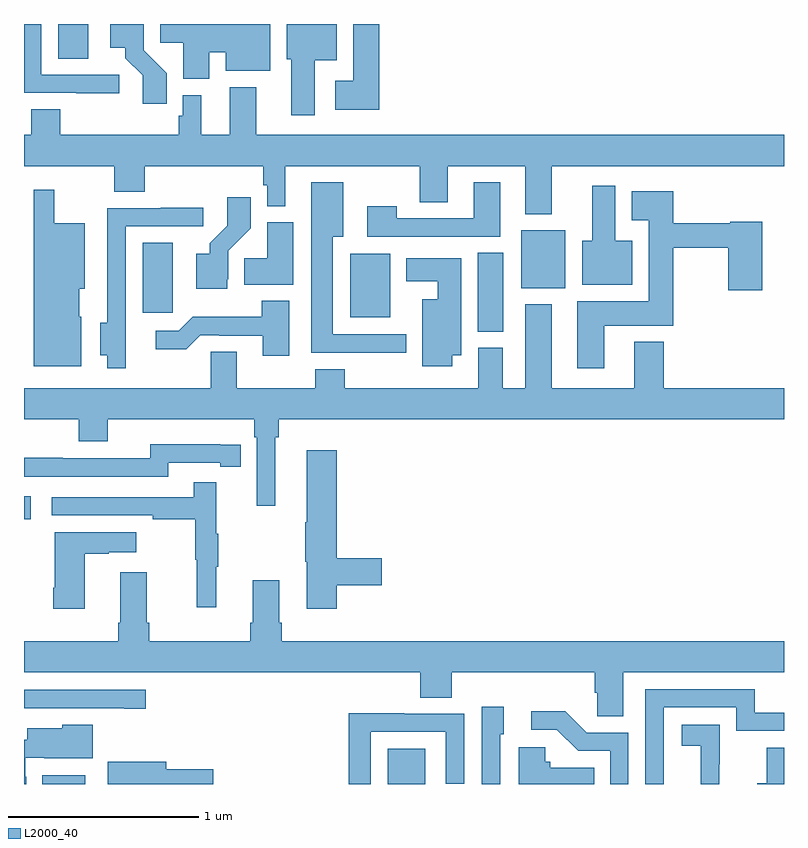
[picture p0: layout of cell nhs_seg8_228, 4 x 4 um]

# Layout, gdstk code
import gdstk
lib = gdstk.Library(unit=1e-6, precision=1e-09)
def R(c, l, rs):  # rectangles x0, y0, x1, y1
    for r in rs: c.add(gdstk.rectangle(r[:2], r[2:], *l))
def P(c, l, *ps):  # polygons
    for p in ps: c.add(gdstk.Polygon(p, *l))
L2000_40 = (2000, 40)

nhs_seg8_228 = lib.new_cell('nhs_seg8_228')
R(nhs_seg8_228, L2000_40, [(125.096,1127.9,125.323,1127.947), (126.914,1127.9,127.111,1128.085), (125,1129.293,125.035,1129.414), (127.388,1130.281,127.522,1130.696), (126.716,1130.357,126.928,1130.692), (125.624,1130.379,125.782,1130.75), (127.616,1130.51,127.849,1130.815), (125.18,1131.718,125.338,1131.9)])
P(nhs_seg8_228, L2000_40, [(125.974,1131.751),(126.062,1131.751),(126.062,1131.653),(126.295,1131.653),(126.295,1131.9),(125.716,1131.9),(125.716,1131.802),(125.837,1131.802),(125.837,1131.611),(125.974,1131.611)],
  [(125.75,1131.642),(125.631,1131.761),(125.631,1131.9),(125.454,1131.9),(125.454,1131.776),(125.534,1131.776),(125.534,1131.721),(125.625,1131.631),(125.625,1131.48),(125.75,1131.48)],
  [(125.5,1131.633),(125.091,1131.633),(125.091,1131.9),(125,1131.9),(125,1131.537),(125.275,1131.537),(125.275,1131.535),(125.5,1131.535)],
  [(126.869,1131.9),(126.734,1131.9),(126.734,1131.601),(126.639,1131.601),(126.639,1131.449),(126.869,1131.449)],
  [(126.529,1131.71),(126.646,1131.71),(126.646,1131.9),(126.383,1131.9),(126.383,1131.714),(126.407,1131.714),(126.407,1131.42),(126.529,1131.42)],
  [(127.777,1131.152),(129,1131.152),(129,1131.316),(126.223,1131.316),(126.223,1131.568),(126.083,1131.568),(126.083,1131.316),(125.932,1131.316),(125.932,1131.526),(125.835,1131.526),(125.835,1131.417),(125.815,1131.417),(125.815,1131.316),(125.192,1131.316),(125.192,1131.452),(125.039,1131.452),(125.039,1131.316),(125,1131.316),(125,1131.152),(125.476,1131.152),(125.476,1131.016),(125.636,1131.016),(125.636,1131.152),(126.259,1131.152),(126.259,1131.051),(126.279,1131.051),(126.279,1130.942),(126.376,1130.942),(126.376,1131.152),(127.084,1131.152),(127.084,1130.962),(127.231,1130.962),(127.231,1131.152),(127.637,1131.152),(127.637,1130.9),(127.777,1130.9)],
  [(127.507,1131.067),(127.367,1131.067),(127.367,1130.877),(126.963,1130.877),(126.963,1130.941),(126.807,1130.941),(126.807,1130.781),(127.507,1130.781)],
  [(127.012,1130.268),(126.625,1130.268),(126.625,1130.78),(126.679,1130.78),(126.679,1131.067),(126.512,1131.067),(126.512,1130.171),(127.012,1130.171)],
  [(128.2,1130.758),(128.113,1130.758),(128.113,1131.049),(127.991,1131.049),(127.991,1130.758),(127.937,1130.758),(127.937,1130.528),(128.2,1130.528)],
  [(125.302,1130.358),(125.29,1130.358),(125.29,1130.507),(125.32,1130.507),(125.32,1130.851),(125.158,1130.851),(125.158,1131.028),(125.051,1131.028),(125.051,1130.099),(125.302,1130.099)],
  [(128.053,1130.312),(128.418,1130.312),(128.418,1130.722),(128.707,1130.722),(128.707,1130.499),(128.885,1130.499),(128.885,1130.859),(128.718,1130.859),(128.718,1130.851),(128.418,1130.851),(128.418,1131.019),(128.198,1131.019),(128.198,1130.867),(128.288,1130.867),(128.288,1130.44),(127.913,1130.44),(127.913,1130.088),(128.053,1130.088)],
  [(126.07,1130.556),(126.075,1130.556),(126.075,1130.707),(126.194,1130.826),(126.194,1130.989),(126.069,1130.989),(126.069,1130.837),(125.978,1130.747),(125.978,1130.692),(125.906,1130.692),(125.906,1130.507),(126.07,1130.507)],
  [(125.536,1130.31),(125.535,1130.31),(125.535,1130.835),(125.944,1130.835),(125.944,1130.934),(125.719,1130.934),(125.719,1130.931),(125.439,1130.931),(125.439,1130.327),(125.402,1130.327),(125.402,1130.156),(125.438,1130.156),(125.438,1130.088),(125.536,1130.088)],
  [(126.418,1130.857),(126.281,1130.857),(126.281,1130.666),(126.16,1130.666),(126.16,1130.528),(126.418,1130.528)],
  [(127.255,1130.156),(127.3,1130.156),(127.3,1130.668),(127.013,1130.668),(127.013,1130.546),(127.178,1130.546),(127.178,1130.452),(127.097,1130.452),(127.097,1130.1),(127.255,1130.1)],
  [(126.397,1130.443),(126.25,1130.443),(126.25,1130.359),(125.887,1130.359),(125.814,1130.286),(125.694,1130.286),(125.694,1130.189),(125.855,1130.189),(125.928,1130.262),(126.028,1130.262),(126.028,1130.259),(126.257,1130.259),(126.257,1130.154),(126.397,1130.154)],
  [(126.322,1129.724),(126.341,1129.724),(126.341,1129.82),(129,1129.82),(129,1129.984),(128.366,1129.984),(128.366,1130.227),(128.213,1130.227),(128.213,1129.984),(127.777,1129.984),(127.777,1130.425),(127.637,1130.425),(127.637,1129.984),(127.519,1129.984),(127.519,1130.196),(127.391,1130.196),(127.391,1129.984),(126.687,1129.984),(126.687,1130.083),(126.532,1130.083),(126.532,1129.984),(126.121,1129.984),(126.121,1130.174),(125.982,1130.174),(125.982,1129.984),(125,1129.984),(125,1129.82),(125.288,1129.82),(125.288,1129.703),(125.44,1129.703),(125.44,1129.82),(126.212,1129.82),(126.212,1129.724),(126.225,1129.724),(126.225,1129.365),(126.322,1129.365)],
  [(125.76,1129.59),(126.032,1129.59),(126.032,1129.57),(126.14,1129.57),(126.14,1129.686),(126.032,1129.686),(126.032,1129.687),(125.664,1129.687),(125.664,1129.614),(125.204,1129.614),(125.204,1129.616),(125,1129.616),(125,1129.518),(125.76,1129.518)],
  [(126.647,1128.946),(126.883,1128.946),(126.883,1129.088),(126.647,1129.088),(126.647,1129.657),(126.488,1129.657),(126.488,1129.277),(126.481,1129.277),(126.481,1129.071),(126.488,1129.071),(126.488,1128.822),(126.647,1128.822)],
  [(126.011,1129.043),(126.022,1129.043),(126.022,1129.217),(126.011,1129.217),(126.011,1129.489),(125.893,1129.489),(125.893,1129.41),(125.145,1129.41),(125.145,1129.314),(125.677,1129.314),(125.677,1129.294),(125.901,1129.294),(125.901,1129.08),(125.908,1129.08),(125.908,1128.831),(126.011,1128.831)],
  [(125.32,1129.111),(125.447,1129.111),(125.447,1129.121),(125.59,1129.121),(125.59,1129.225),(125.162,1129.225),(125.162,1128.934),(125.155,1128.934),(125.155,1128.822),(125.32,1128.822)],
  [(128.155,1128.488),(129,1128.488),(129,1128.652),(126.356,1128.652),(126.356,1128.748),(126.343,1128.748),(126.343,1128.973),(126.203,1128.973),(126.203,1128.748),(126.191,1128.748),(126.191,1128.652),(125.66,1128.652),(125.66,1128.748),(125.647,1128.748),(125.647,1129.015),(125.507,1129.015),(125.507,1128.748),(125.495,1128.748),(125.495,1128.652),(125,1128.652),(125,1128.488),(127.085,1128.488),(127.085,1128.355),(127.25,1128.355),(127.25,1128.488),(128.003,1128.488),(128.003,1128.379),(128.016,1128.379),(128.016,1128.256),(128.155,1128.256)],
  [(128.367,1128.303),(128.748,1128.303),(128.748,1128.18),(129,1128.18),(129,1128.276),(128.845,1128.276),(128.845,1128.399),(128.271,1128.399),(128.271,1127.9),(128.367,1127.9)],
  [(125.641,1128.396),(125,1128.396),(125,1128.3),(125.528,1128.3),(125.528,1128.295),(125.641,1128.295)],
  [(127.506,1128.162),(127.525,1128.162),(127.525,1128.307),(127.41,1128.307),(127.41,1127.9),(127.506,1127.9)],
  [(128.181,1128.171),(127.962,1128.171),(127.849,1128.284),(127.671,1128.284),(127.671,1128.186),(127.805,1128.186),(127.916,1128.075),(128.085,1128.075),(128.085,1127.9),(128.181,1127.9)],
  [(126.825,1128.174),(127.221,1128.174),(127.221,1127.901),(127.317,1127.901),(127.317,1128.27),(127.001,1128.27),(127.001,1128.272),(126.709,1128.272),(126.709,1127.9),(126.825,1127.9)],
  [(125.011,1127.939),(125.007,1127.939),(125.007,1128.039),(125.107,1128.039),(125.107,1128.035),(125.362,1128.035),(125.362,1128.211),(125.202,1128.211),(125.202,1128.193),(125.018,1128.193),(125.018,1128.132),(125,1128.132),(125,1127.9),(125.011,1127.9)],
  [(128.66,1128.005),(128.661,1128.005),(128.661,1128.211),(128.463,1128.211),(128.463,1128.101),(128.561,1128.101),(128.561,1127.9),(128.66,1127.9)],
  [(128,1127.986),(127.77,1127.986),(127.77,1128.018),(127.743,1128.018),(127.743,1128.094),(127.604,1128.094),(127.604,1127.9),(128,1127.9)],
  [(129,1128.09),(128.908,1128.09),(128.908,1127.905),(128.858,1127.905),(128.858,1127.9),(129,1127.9)],
  [(125.995,1127.978),(125.749,1127.978),(125.749,1128.016),(125.442,1128.016),(125.442,1127.9),(125.995,1127.9)])

lib.write_gds('nhs_seg8_228.gds')
